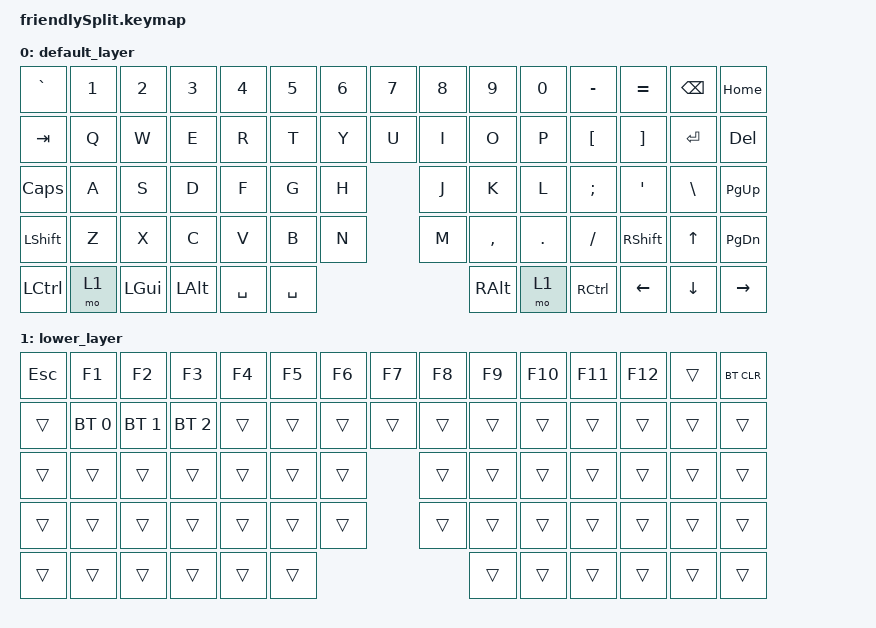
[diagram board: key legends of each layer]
#include <behaviors.dtsi>
#include <dt-bindings/zmk/keys.h>
#include <dt-bindings/zmk/bt.h>

/ {
    keymap {
        compatible = "zmk,keymap";

        default_layer {
// ----------------------------------------------      ------------------------------------------------------
// | ` |  1   |  2  |  3   |  4  |  5  |  6  |         |  7  |  8  |  9  |  0  |  -  |  =  |  BKSPC  | HOME |
// | TAB |  Q   |  W  |  E   |  R  |  T  |          |  Y  |  U  |  I  |  O  |  P  |  [  |  ]  | ENTER| DELE |
// |  CAPS  |  A   |  S  |  D   |  F  |  G  |        |  H  |  J  |  K  |  L  |  ;  |  '  |  \  |     | PGUP |
// | SHIFT | \ |  Z   |  X  |  C  |  V   |  B  |      |  N  |  M  |  ,  |  .  |  /  |   RSHFT  |  UP | PGDN |
// | LCTRL   | FN | LGUI | LALT |    SPACE   |         |    SPACE    | RALT | FN | RCTRL | LFT | DWN | RGHT |
// -------------------------------------------         ------------------------------------------------------
            bindings = <
&kp GRAVE &kp N1  &kp N2   &kp N3   &kp N4 &kp N5    &kp N6   &kp N7    &kp N8    &kp N9    &kp N0    &kp MINUS &kp EQUAL           &kp BSPC  &kp HOME 
&kp TAB           &kp Q    &kp W    &kp E  &kp R     &kp T    &kp Y     &kp U     &kp I     &kp O     &kp P     &kp LBKT  &kp RBKT  &kp ENTER &kp DEL 
&kp CAPS          &kp A    &kp S    &kp D  &kp F     &kp G    &kp H     &kp J     &kp K     &kp L     &kp SEMI  &kp SQT   &kp BSLH            &kp PG_UP
&kp LSHFT &kp Z   &kp X    &kp C    &kp V  &kp B              &kp N     &kp M     &kp COMMA &kp DOT   &kp FSLH            &kp RSHFT &kp UP    &kp PG_DN
&kp LCTRL &mo 1   &kp LGUI &kp LALT        &kp SPACE                    &kp SPACE &kp RALT  &mo 1     &kp RCTRL           &kp LEFT  &kp DOWN  &kp RIGHT
            >;
        };


        lower_layer {
// ----------------------------------------------     -----------------------------------------------------
// |  ESC  |  F1  |  F2 |  F3  |  F4 |  F5 |  F6 |     |  F7 |  F8 |  F9 | F10 | F11 | F12 | BT_CLR|      |
// |       | BT-0 | BT-1| BT-2 |     |     |       |     |     |     |     |     |     |     |     |BT_CLR|
// |        |      |     |      |     |     |       |     |     |     |     |     |     |          |      |
// |         |      |     |     |      |     |       |     |     |     |     |     |         |     |      |
// |         |      |      |           |     |       |             |      |    |       |     |     |      |
// -------------------------------------------       ------------------------------------------------------
            bindings = <
&kp ESC    &kp F1       &kp F2       &kp F3       &kp F4 &kp F5 &kp F6  &kp F7 &kp F8 &kp F9 &kp F10 &kp F11 &kp F12 &trans &bt BT_CLR
&trans     &bt BT_SEL 0 &bt BT_SEL 1 &bt BT_SEL 2 &trans &trans         &trans &trans &trans &trans  &trans  &trans  &trans &trans &trans
&trans     &trans       &trans       &trans       &trans &trans         &trans &trans &trans &trans  &trans  &trans  &trans &trans
&trans     &trans       &trans       &trans       &trans &trans         &trans &trans &trans &trans  &trans  &trans  &trans &trans
&trans     &trans       &trans       &trans       &trans                &trans &trans &trans &trans  &trans  &trans  &trans
            >;
        };
    };
};
